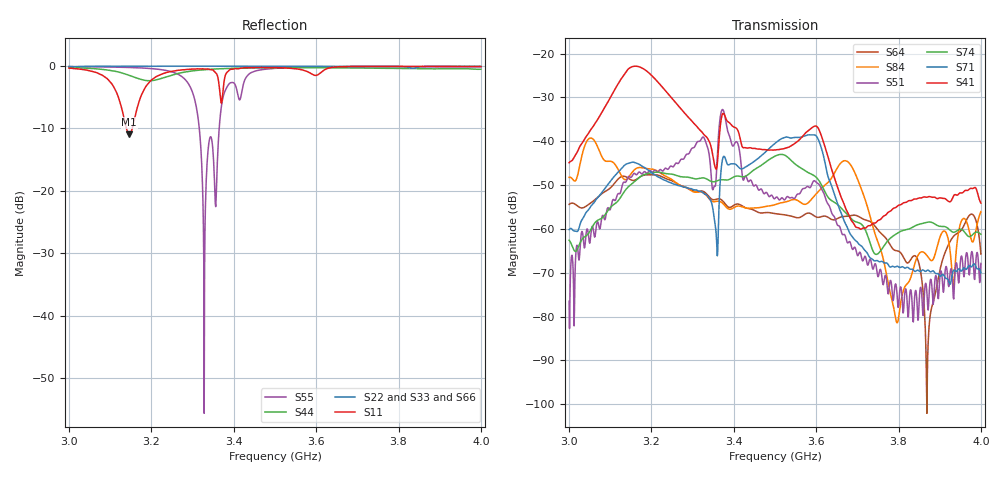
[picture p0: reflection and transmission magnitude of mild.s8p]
! TOUCHSTONE file generated by CST MICROWAVE STUDIO
! Date and time: Fri Sep  4 21:34:51 2026
! Project name: final_antenna_3.5Ghz - Multiantenna.cst
! Header version: 2024
! Touchstone port assignment:
! Touchstone port 1 = CST MWS port 1 ("")
! Touchstone port 2 = CST MWS port 2 ("")
! Touchstone port 3 = CST MWS port 3 ("")
! Touchstone port 4 = CST MWS port 4 ("")
! Touchstone port 5 = CST MWS port 5 ("")
! Touchstone port 6 = CST MWS port 6 ("")
! Touchstone port 7 = CST MWS port 7 ("")
! Touchstone port 8 = CST MWS port 8 ("")
! Created with skrf 2.2.0 (http://scikit-rf.org).
# GHz S RI R 50.0
!freq ReS11 ImS11 ReS12 ImS12 ReS13 ImS13
! ReS14 ImS14 ReS15 ImS15 ReS16 ImS16 ReS17 ImS17
! ReS18 ImS18
! ReS21 ImS21 ReS22 ImS22 ReS23 ImS23
! ReS24 ImS24 ReS25 ImS25 ReS26 ImS26 ReS27 ImS27
! ReS28 ImS28
! ReS31 ImS31 ReS32 ImS32 ReS33 ImS33
! ReS34 ImS34 ReS35 ImS35 ReS36 ImS36 ReS37 ImS37
! ReS38 ImS38
! ReS41 ImS41 ReS42 ImS42 ReS43 ImS43
! ReS44 ImS44 ReS45 ImS45 ReS46 ImS46 ReS47 ImS47
! ReS48 ImS48
! ReS51 ImS51 ReS52 ImS52 ReS53 ImS53
! ReS54 ImS54 ReS55 ImS55 ReS56 ImS56 ReS57 ImS57
! ReS58 ImS58
! ReS61 ImS61 ReS62 ImS62 ReS63 ImS63
! ReS64 ImS64 ReS65 ImS65 ReS66 ImS66 ReS67 ImS67
! ReS68 ImS68
! ReS71 ImS71 ReS72 ImS72 ReS73 ImS73
! ReS74 ImS74 ReS75 ImS75 ReS76 ImS76 ReS77 ImS77
! ReS78 ImS78
! ReS81 ImS81 ReS82 ImS82 ReS83 ImS83
! ReS84 ImS84 ReS85 ImS85 ReS86 ImS86 ReS87 ImS87
! ReS88 ImS88
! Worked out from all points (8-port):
!   1001 points, 3 GHz to 4 GHz, reference 50 ohm
!   strongest paths, dB at 3 GHz, 3.25 GHz, 3.5 GHz, 3.75 GHz, 4 GHz:
!     S41: -44.9, -30.3, -42.0, -58.1, -54.1
!     S71: -60.2, -49.6, -40.5, -67.3, -70.0
!     S74: -62.6, -47.5, -43.4, -65.7, -61.2
!     S51: -76.5, -45.8, -53.1, -70.9, -67.8
!     S84: -48.2, -48.8, -54.5, -63.0, -56.1
!     S64: -54.4, -49.0, -56.5, -60.2, -65.7
!   lowest |S11| = -11.0 dB at 3.146 GHz (marker M1), VSWR 1.79, Z = 73.1 - j27.3 ohm
!   |S11| at or under -10 dB: 3.139194 GHz to 3.153294 GHz (14.1 MHz wide, 0.448 % of centre)
